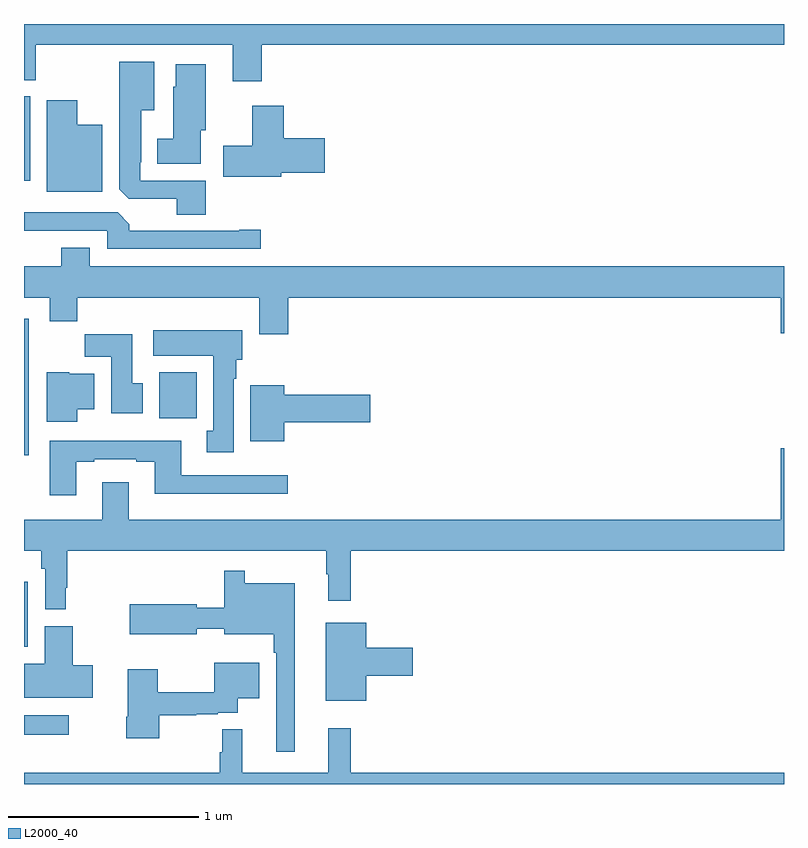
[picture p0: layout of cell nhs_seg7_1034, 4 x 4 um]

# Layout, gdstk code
import gdstk
lib = gdstk.Library(unit=1e-6, precision=1e-09)
def R(c, l, rs):  # rectangles x0, y0, x1, y1
    for r in rs: c.add(gdstk.rectangle(r[:2], r[2:], *l))
def P(c, l, *ps):  # polygons
    for p in ps: c.add(gdstk.Polygon(p, *l))
L2000_40 = (2000, 40)

nhs_seg7_1034 = lib.new_cell('nhs_seg7_1034')
R(nhs_seg7_1034, L2000_40, [(185,1054.259,185.236,1054.363), (185,1054.722,185.02,1055.065), (185,1055.729,185.025,1056.45), (185.711,1055.924,185.908,1056.166), (185,1057.176,185.032,1057.62)])
P(nhs_seg7_1034, L2000_40, [(186.251,1057.892),(189,1057.892),(189,1058),(185,1058),(185,1057.705),(185.061,1057.705),(185.061,1057.892),(186.098,1057.892),(186.098,1057.698),(186.251,1057.698)],
  [(185.957,1057.176),(185.613,1057.176),(185.613,1057.273),(185.617,1057.273),(185.617,1057.547),(185.686,1057.547),(185.686,1057.801),(185.501,1057.801),(185.501,1057.129),(185.55,1057.08),(185.804,1057.08),(185.804,1056.997),(185.957,1056.997)],
  [(185.929,1057.44),(185.956,1057.44),(185.956,1057.789),(185.798,1057.789),(185.798,1057.671),(185.786,1057.671),(185.786,1057.396),(185.702,1057.396),(185.702,1057.265),(185.929,1057.265)],
  [(185.413,1057.471),(185.281,1057.471),(185.281,1057.6),(185.12,1057.6),(185.12,1057.118),(185.413,1057.118)],
  [(186.355,1057.217),(186.583,1057.217),(186.583,1057.4),(186.368,1057.4),(186.368,1057.57),(186.2,1057.57),(186.2,1057.359),(186.048,1057.359),(186.048,1057.196),(186.355,1057.196)],
  [(186.247,1056.917),(186.134,1056.917),(186.134,1056.912),(185.555,1056.912),(185.555,1056.946),(185.493,1057.008),(185,1057.008),(185,1056.912),(185.439,1056.912),(185.439,1056.816),(186.247,1056.816)],
  [(185.347,1056.823),(185.195,1056.823),(185.195,1056.724),(185,1056.724),(185,1056.56),(185.135,1056.56),(185.135,1056.436),(185.279,1056.436),(185.279,1056.56),(186.239,1056.56),(186.239,1056.366),(186.392,1056.366),(186.392,1056.56),(188.984,1056.56),(188.984,1056.372),(189,1056.372),(189,1056.724),(185.347,1056.724)],
  [(186.103,1056.134),(186.118,1056.134),(186.118,1056.234),(186.148,1056.234),(186.148,1056.388),(185.679,1056.388),(185.679,1056.254),(185.996,1056.254),(185.996,1055.858),(185.963,1055.858),(185.963,1055.745),(186.103,1055.745)],
  [(185.626,1056.108),(185.569,1056.108),(185.569,1056.367),(185.32,1056.367),(185.32,1056.248),(185.459,1056.248),(185.459,1055.952),(185.626,1055.952)],
  [(185.281,1055.972),(185.371,1055.972),(185.371,1056.16),(185.238,1056.16),(185.238,1056.166),(185.12,1056.166),(185.12,1055.907),(185.281,1055.907)],
  [(186.37,1055.903),(186.823,1055.903),(186.823,1056.05),(186.37,1056.05),(186.37,1056.1),(186.191,1056.1),(186.191,1055.804),(186.37,1055.804)],
  [(185.275,1055.697),(185.371,1055.697),(185.371,1055.709),(185.591,1055.709),(185.591,1055.697),(185.687,1055.697),(185.687,1055.528),(186.388,1055.528),(186.388,1055.625),(185.827,1055.625),(185.827,1055.806),(185.135,1055.806),(185.135,1055.52),(185.275,1055.52)],
  [(185.551,1055.587),(185.411,1055.587),(185.411,1055.392),(185,1055.392),(185,1055.228),(185.092,1055.228),(185.092,1055.132),(185.112,1055.132),(185.112,1054.92),(185.221,1054.92),(185.221,1055.032),(185.228,1055.032),(185.228,1055.228),(186.591,1055.228),(186.591,1055.105),(186.602,1055.105),(186.602,1054.965),(186.719,1054.965),(186.719,1055.228),(189,1055.228),(189,1055.767),(188.984,1055.767),(188.984,1055.392),(185.551,1055.392)],
  [(186.424,1055.056),(186.163,1055.056),(186.163,1055.122),(186.053,1055.122),(186.053,1054.927),(185.908,1054.927),(185.908,1054.945),(185.556,1054.945),(185.556,1054.787),(185.908,1054.787),(185.908,1054.817),(186.053,1054.817),(186.053,1054.787),(186.315,1054.787),(186.315,1054.691),(186.327,1054.691),(186.327,1054.17),(186.424,1054.17)],
  [(186.802,1054.571),(187.045,1054.571),(187.045,1054.718),(186.802,1054.718),(186.802,1054.849),(186.587,1054.849),(186.587,1054.439),(186.802,1054.439)],
  [(185.362,1054.625),(185.256,1054.625),(185.256,1054.831),(185.108,1054.831),(185.108,1054.633),(185,1054.633),(185,1054.454),(185.362,1054.454)],
  [(185.712,1054.362),(185.906,1054.362),(185.906,1054.367),(186.02,1054.367),(186.02,1054.374),(186.124,1054.374),(186.124,1054.451),(186.238,1054.451),(186.238,1054.639),(186.002,1054.639),(186.002,1054.483),(185.704,1054.483),(185.704,1054.603),(185.546,1054.603),(185.546,1054.354),(185.539,1054.354),(185.539,1054.242),(185.712,1054.242)],
  [(189,1054.06),(186.719,1054.06),(186.719,1054.294),(186.602,1054.294),(186.602,1054.06),(186.149,1054.06),(186.149,1054.289),(186.043,1054.289),(186.043,1054.167),(186.031,1054.167),(186.031,1054.06),(185,1054.06),(185,1054),(189,1054)])

lib.write_gds('nhs_seg7_1034.gds')
